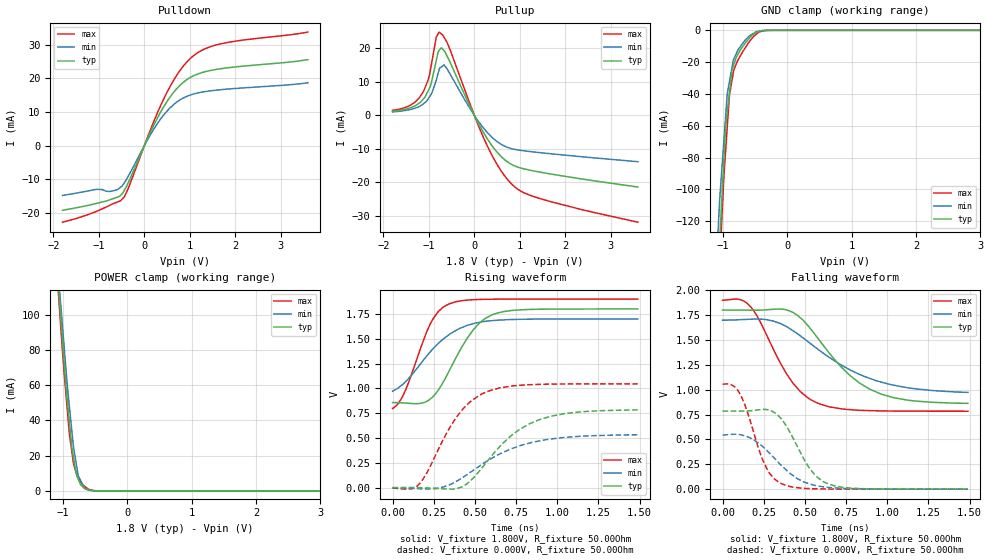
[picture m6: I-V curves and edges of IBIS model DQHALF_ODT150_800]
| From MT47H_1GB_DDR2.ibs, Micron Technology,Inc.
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|MODEL DQHALF_ODT150_800 (Reduced-Drv IO Drvr with 150-ohm ODT Submodel,667/800)
[Model]   DQHALF_ODT150_800
Model_type   I/O
Vinl = 700.000mV
Vinh = 1.10V
Vmeas = 900.000mV
Vref = 900.000mV
Cref = 0.0pF
Rref = 25.000Ohm
|   typ   min   max
C_comp   2.776pF   2.652pF   2.950pF
| Note: C_comp decreases when the ODT circuit is enabled.
[Model Spec]
| Input threshold voltage corners
Vinl   0.70V   0.650V   0.750V
Vinh   1.10V   1.05V   1.150V
| Measurement voltage corners
Vmeas   0.900V   0.850V   0.950V
| Timing spec test load voltage corners
| Vref   0.900V   0.850V   0.950V
| [Receiver Thresholds]
[Voltage Range]   1.800V   1.700V   1.900V
[Pullup Reference]   1.800V   1.700V   1.900V
| Junction Temperature (Ambient temp is 25C typ, 85C min, 0C max)
[Temperature Range]   40.0   100.0   0.0
[Add Submodel]
| Submodel Name   Mode
150ohm_ODT_800   Non-Driving
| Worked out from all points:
|   slope of the pulldown table from 0 to 0.27 V, typ, clamps not added: 34.7 ohm
|   slope of the pullup table from 0 to 0.27 V, typ, clamps not added: 40.5 ohm
|   GND clamp passes 1 mA (typ) near -0.47 V on its own axis
|   POWER clamp passes 1 mA (typ) near -0.65 V on its own axis
|   falling waveform, V_fixture 1.800V, R_fixture 50.00Ohm: 20-80 % time 315ps typ, 424ps min, 228ps max; typ from 1.8 V to 0.862 V
|   rising waveform, V_fixture 1.800V, R_fixture 50.00Ohm: 20-80 % time 200ps typ, 247ps min, 151ps max; typ from 0.857 V to 1.8 V
|   rising waveform, V_fixture 0.000V, R_fixture 50.00Ohm: 20-80 % time 291ps typ, 351ps min, 228ps max; typ from 0 V to 0.782 V
|   falling waveform, V_fixture 0.000V, R_fixture 50.00Ohm: 20-80 % time 164ps typ, 212ps min, 131ps max; typ from 0.785 V to 0 V
[Pulldown]
|   Voltage   I(typ)   I(min)   I(max)
-1.8V     -19.19mA   -14.77mA   -22.72mA
-1.055V   -17.14mA   -12.96mA   -19.51mA
-665mV    -15.63mA   -13.35mA   -17.11mA
-555mV    -15.11mA   -12.67mA   -16.54mA
-440mV    -13.25mA   -11.01mA   -15.2mA
85mV      2.59mA     2.118mA    3.022mA
415mV     11.32mA    8.94mA     13.55mA
750mV     17.48mA    13.31mA    21.69mA
1.08V     20.77mA    15.36mA    26.72mA
1.36V     22.08mA    16.14mA    28.95mA
1.765V    23.05mA    16.76mA    30.52mA
3.6V      25.59mA    18.71mA    33.78mA
[GND Clamp]
|   Voltage   I(typ)   I(min)   I(max)
-1.8V     -885.8mA   -819.1mA   -938.5mA
-1.085V   -156.9mA   -131.5mA   -177.8mA
-1.05V    -129.4mA   -104.3mA   -145.8mA
-1.015V   -102mA     -84.48mA   -113.9mA
-975mV    -70.93mA   -61.87mA   -83.99mA
-935mV    -50.65mA   -39.67mA   -60.36mA
-900mV    -38.4mA    -31.84mA   -40.46mA
-860mV    -24.71mA   -22.89mA   -30.85mA
-775mV    -15.46mA   -12.9mA    -19.13mA
-490mV    -1.39mA    -964.7uA   -2.619mA
-250mV    -7.2uA     -10.94uA   -3.808uA
3.6V      0A         0A         0A
[Pullup]
|   Voltage   I(typ)   I(min)   I(max)
-1.8V     1.204mA    998.4uA    1.479mA
-1.385V   2.359mA    1.814mA    3.194mA
-1.12V    4.892mA    3.43mA     7.071mA
-1.015V   7.33mA     4.941mA    10.61mA
-950mV    9.463mA    6.271mA    14.77mA
-840mV    16.2mA     10.41mA    23.14mA
-775mV    19.33mA    13.57mA    24.83mA
-665mV    19.29mA    15.04mA    23.28mA
300mV     -7.296mA   -5.336mA   -9.533mA
860mV     -14.93mA   -10.08mA   -20.98mA
1.495V    -17.06mA   -11.2mA    -25.03mA
3.6V      -21.4mA    -13.84mA   -31.88mA
[POWER Clamp]
|   Voltage   I(typ)   I(min)   I(max)
-1.8V     517.7mA    504.2mA    528.2mA
-1.085V   122.5mA    128.6mA    118.1mA
-1.05V    105.3mA    111.6mA    99.86mA
-950mV    57.39mA    66.44mA    52.32mA
-905mV    40.41mA    48.84mA    33.37mA
-860mV    23.68mA    32.44mA    21.13mA
-840mV    19.28mA    25.27mA    15.88mA
-795mV    9.591mA    15.37mA    10.18mA
-765mV    6.833mA    8.765mA    7.27mA
-655mV    1.084mA    1.224mA    2.343mA
-440mV    20.18uA    18.19uA    26.74uA
3.6V      0A         0A         0A
[Ramp]
R_load = 50.00Ohm
|   typ   min   max
dV/dt_r   469.315mV/290.822ps 320.917mV/350.644ps 630.270mV/227.667ps
dV/dt_f   562.660mV/314.674ps 435.549mV/424.245ps 669.145mV/228.034ps
[Falling Waveform]
V_fixture = 1.800V
V_fixture_min = 1.700V
V_fixture_max = 1.900V
R_fixture = 50.00Ohm
|   Time   V(typ)   V(min)   V(max)
0s        1.8V       1.698V     1.899V
100ps     1.8V       1.703V     1.908V
170ps     1.799V     1.708V     1.834V
310ps     1.808V     1.689V     1.401V
420ps     1.783V     1.601V     1.084V
590ps     1.493V     1.393V     856.2mV
770ps     1.149V     1.202V     799.7mV
960ps     957.6mV    1.078V     786.9mV
1.15ns    889.4mV    1.013V     784mV
1.49ns    862.3mV    972.5mV    783.3mV
[Rising Waveform]
V_fixture = 1.800V
V_fixture_min = 1.700V
V_fixture_max = 1.900V
R_fixture = 50.00Ohm
|   Time   V(typ)   V(min)   V(max)
0s        857mV      971.7mV    796.3mV
70ps      853mV      1.053V     949.3mV
210ps     871.3mV    1.331V     1.579V
280ps     987.5mV    1.455V     1.778V
340ps     1.163V     1.537V     1.848V
490ps     1.589V     1.652V     1.893V
560ps     1.701V     1.675V     1.897V
620ps     1.751V     1.685V     1.899V
830ps     1.795V     1.697V     1.9V
1.49ns    1.8V       1.7V       1.9V
[Rising Waveform]
V_fixture = 0.000V
V_fixture_min = 0.000V
V_fixture_max = 0.000V
R_fixture = 50.00Ohm
|   Time   V(typ)   V(min)   V(max)
0s        157.6uV    -2.801mV   -5.048mV
150ps     -63.44uV   -10.99mV   15.32mV
200ps     -2.929mV   -13.84mV   123.8mV
390ps     -10.3mV    65.12mV    713.6mV
460ps     49.33mV    139mV      845.8mV
550ps     212.5mV    241.4mV    949.2mV
720ps     522.3mV    390.4mV    1.022V
890ps     683.3mV    469.6mV    1.04V
1.13ns    761.3mV    515.9mV    1.045V
1.49ns    782.3mV    532.1mV    1.045V
[Falling Waveform]
V_fixture = 0.000V
V_fixture_min = 0.000V
V_fixture_max = 0.000V
R_fixture = 50.00Ohm
|   Time   V(typ)   V(min)   V(max)
0s        785.2mV    543.1mV    1.054V
60ps      784.3mV    551.6mV    1.044V
100ps     783.9mV    548.9mV    975.2mV
150ps     785.8mV    527.9mV    782.4mV
250ps     801.6mV    418.8mV    270.2mV
350ps     719.1mV    250.3mV    61.34mV
530ps     205.8mV    52.6mV     5.532mV
640ps     54.54mV    18.18mV    1.652mV
830ps     6.139mV    3.61mV     301.6uV
1.49ns    99.1uV     124uV      68.46uV
